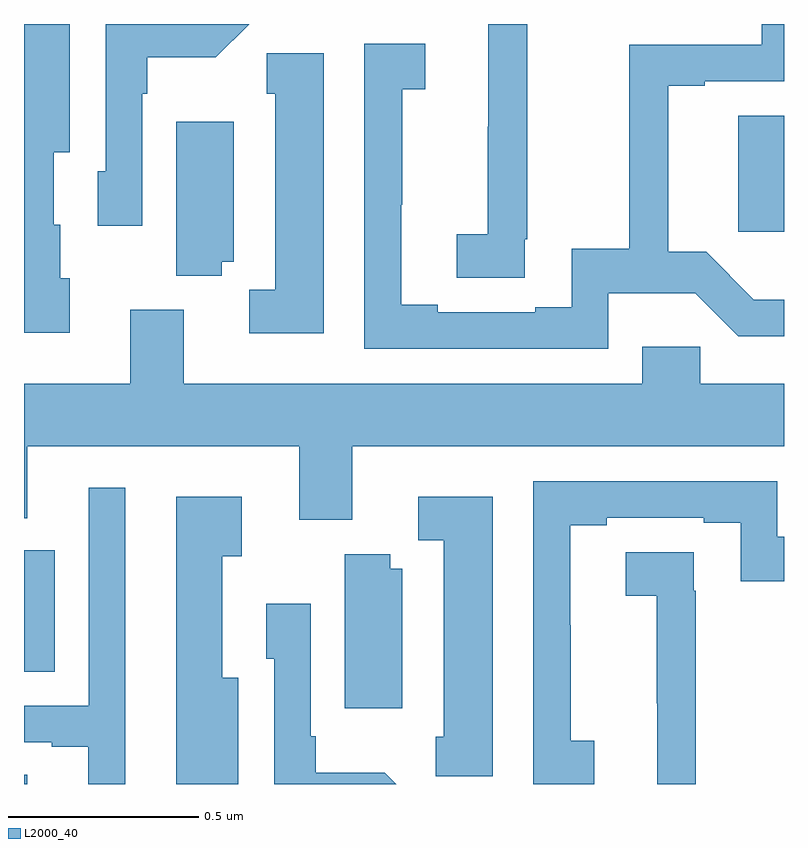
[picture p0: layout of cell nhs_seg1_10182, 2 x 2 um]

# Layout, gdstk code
import gdstk
lib = gdstk.Library(unit=1e-6, precision=1e-09)
def R(c, l, rs):  # rectangles x0, y0, x1, y1
    for r in rs: c.add(gdstk.rectangle(r[:2], r[2:], *l))
def P(c, l, *ps):  # polygons
    for p in ps: c.add(gdstk.Polygon(p, *l))
L2000_40 = (2000, 40)

nhs_seg1_10182 = lib.new_cell('nhs_seg1_10182')
R(nhs_seg1_10182, L2000_40, [(238,528.199,238.009,528.224), (238,528.494,238.081,528.814), (239.879,529.652,240,529.957)])
P(nhs_seg1_10182, L2000_40, [(239.538,529.49),(239.767,529.49),(239.88,529.377),(240,529.377),(240,529.474),(239.921,529.474),(239.795,529.6),(239.696,529.6),(239.696,530.037),(239.791,530.037),(239.791,530.049),(240,530.049),(240,530.199),(239.942,530.199),(239.942,530.145),(239.593,530.145),(239.593,529.607),(239.442,529.607),(239.442,529.454),(239.345,529.454),(239.345,529.44),(239.089,529.44),(239.089,529.46),(238.993,529.46),(238.993,529.723),(238.995,529.723),(238.995,530.027),(239.056,530.027),(239.056,530.147),(238.896,530.147),(238.896,529.344),(239.538,529.344)],
  [(239.318,529.633),(239.324,529.633),(239.324,530.199),(239.222,530.199),(239.222,529.929),(239.221,529.929),(239.221,529.646),(239.139,529.646),(239.139,529.531),(239.318,529.531)],
  [(238.12,529.53),(238.096,529.53),(238.096,529.671),(238.078,529.671),(238.078,529.862),(238.12,529.862),(238.12,530.199),(238,530.199),(238,529.386),(238.12,529.386)],
  [(238.311,530.015),(238.324,530.015),(238.324,530.111),(238.505,530.111),(238.593,530.199),(238.215,530.199),(238.215,529.812),(238.194,529.812),(238.194,529.668),(238.311,529.668)],
  [(238.789,530.122),(238.639,530.122),(238.639,530.016),(238.661,530.016),(238.661,529.5),(238.593,529.5),(238.593,529.385),(238.789,529.385)],
  [(238.52,529.574),(238.552,529.574),(238.552,529.942),(238.4,529.942),(238.4,529.537),(238.52,529.537)],
  [(238.864,529.088),(240,529.088),(240,529.252),(239.779,529.252),(239.779,529.35),(239.627,529.35),(239.627,529.252),(238.42,529.252),(238.42,529.447),(238.28,529.447),(238.28,529.252),(238,529.252),(238,528.899),(238.009,528.899),(238.009,529.088),(238.724,529.088),(238.724,528.894),(238.864,528.894)],
  [(239.5,528.313),(239.439,528.313),(239.439,528.617),(239.437,528.617),(239.437,528.88),(239.533,528.88),(239.533,528.9),(239.789,528.9),(239.789,528.886),(239.886,528.886),(239.886,528.733),(240,528.733),(240,528.85),(239.982,528.85),(239.982,528.996),(239.34,528.996),(239.34,528.199),(239.5,528.199)],
  [(238.267,528.979),(238.17,528.979),(238.17,528.405),(238,528.405),(238,528.309),(238.073,528.309),(238.073,528.297),(238.169,528.297),(238.169,528.199),(238.267,528.199)],
  [(238.564,528.478),(238.522,528.478),(238.522,528.799),(238.573,528.799),(238.573,528.955),(238.4,528.955),(238.4,528.199),(238.564,528.199)],
  [(239.233,528.955),(239.037,528.955),(239.037,528.84),(239.105,528.84),(239.105,528.324),(239.083,528.324),(239.083,528.219),(239.233,528.219)],
  [(239.768,528.707),(239.762,528.707),(239.762,528.809),(239.583,528.809),(239.583,528.694),(239.665,528.694),(239.665,528.411),(239.666,528.411),(239.666,528.199),(239.768,528.199)],
  [(238.996,528.766),(238.964,528.766),(238.964,528.803),(238.844,528.803),(238.844,528.399),(238.996,528.399)],
  [(238.949,528.229),(238.768,528.229),(238.768,528.325),(238.755,528.325),(238.755,528.673),(238.638,528.673),(238.638,528.528),(238.659,528.528),(238.659,528.199),(238.979,528.199)])

lib.write_gds('nhs_seg1_10182.gds')
